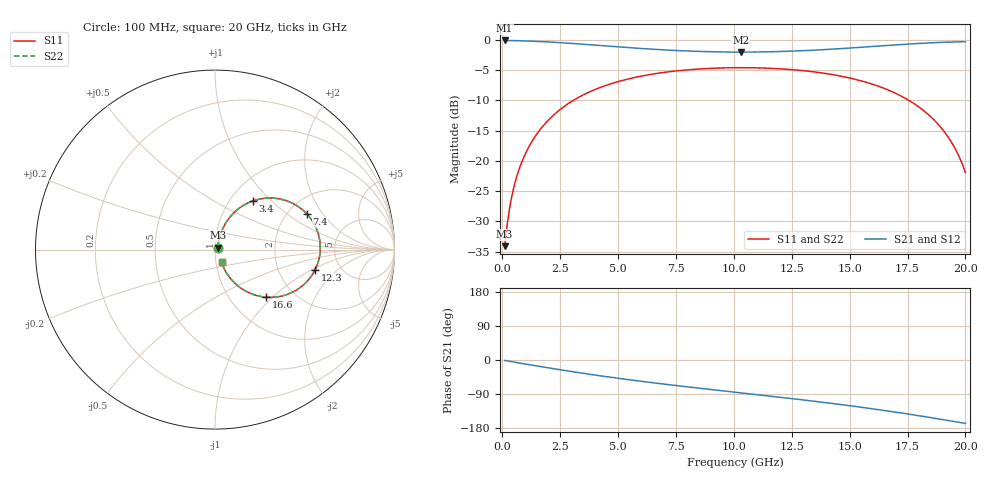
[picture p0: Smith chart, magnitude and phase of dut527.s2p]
! Touchstone file exported from HFSS 2026.1.0
!  File:  C:/ffzhzh/LocalFiles/Ansys_Project_Files/temp_train_TSV_RDL_527_1783111358_37876.aedt
!  Generated:  04:52:56 AM Jul  4, 2026
!  Design:  TSV_RDL
!  Project:  temp_train_TSV_RDL_527_1783111358_37876
! Variables:
!  h_bsmrdl = 4.08um
!  h_ox = 20um
!  h_rdl = 5um
!  h_sub = 86.86um
!  h_tmrdl = 2.54um
!  h_tsv = 86.86um
!  h_via = 3um
!  l_bsmrdl = 486.36um
!  l_sub = 2650.87um
!  l_tmrdl = 174.48um
!  m_sub = 200um
!  pitch = 55.71um
!  r_tsv = 10.06um
!  s_tmrdl = 10um
!  w_bsmrdl = 17.63um
!  w_sub = 500um
!  w_tmrdl = 13.66um
!  x_tsv_center1 = 181.31um
!  x_tsv_center2 = 685.3um
!  x_tsv_center3 = 873.44um
!  x_tsv_center4 = 1377.43um
!  x_tsv_center5 = 1565.57um
!  x_tsv_center6 = 2069.56um
# GHz S MA R 50.000000
! Terminal data exported
! Port[1] = TM_RDL1_1_T1
! Port[2] = TM_RDL5_1_T1
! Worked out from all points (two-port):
!   200 points, 100 MHz to 20 GHz, reference 50 ohm
!   highest |S21| = -0.14 dB at 100 MHz (marker M1); lowest = -2.1 dB at 10.3 GHz (marker M2)
!   |S21| within 3 dB of the highest: start of sweep to end of sweep
!   lowest |S11| = -34.1 dB at 100 MHz (marker M3), VSWR 1.04, Z = 51.6 + j1.2 ohm
!   |S11| at or under -10 dB: start of sweep to 3.081 GHz; 17.55 GHz to end of sweep
!   |S22| runs from -34.1 to -4.6 dB; largest |S21 - S12| = 2.7e-14
!   S11 on the Smith chart (normalised r, x): 100 MHz: 1.03, +0.02; 3.4 GHz: 1.26, +0.78; 7.4 GHz: 2.50, +1.43; 12.3 GHz: 3.26, -1.07; 16.6 GHz: 1.46, -0.91; 20 GHz: 1.06, -0.15
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0.1  0.01974 36.1  0.9842 -1.1  0.9842 -1.1  0.01974 36.1
! Gamma 0 0 0 0
! Port Impedance 50 0 50 0
0.3  0.03904 61.8  0.9829 -3.3  0.9829 -3.3  0.03904 61.8
0.5  0.06065 68.0  0.981 -5.4  0.981 -5.4  0.06065 68.0
0.8  0.09312 70.2  0.9775 -8.6  0.9775 -8.6  0.09312 70.2
1.1  0.1252 69.7  0.9734 -11.7  0.9734 -11.7  0.1252 69.7
2.1  0.2274 63.1  0.9539 -21.8  0.9539 -21.8  0.2274 63.1
3.4  0.3423 52.2  0.9188 -34.3  0.9188 -34.3  0.3423 52.2
3.5  0.3501 51.4  0.9158 -35.2  0.9158 -35.2  0.3501 51.4
5  0.4502 39.1  0.8715 -48.2  0.8715 -48.2  0.4502 39.1
6.8  0.5303 25.6  0.8265 -62.3  0.8265 -62.3  0.5303 25.6
7.4  0.5485 21.4  0.8149 -66.7  0.8149 -66.7  0.5485 21.4
10.1  0.5867 3.3  0.7891 -85.3  0.7891 -85.3  0.5867 3.3
10.3  0.5869 2.0  0.789 -86.7  0.789 -86.7  0.5869 2.0
12.3  0.5694 -11.3  0.8009 -100.4  0.8009 -100.4  0.5694 -11.3
13.4  0.5436 -18.8  0.8174 -108.3  0.8174 -108.3  0.5436 -18.8
15.1  0.4775 -31.2  0.8544 -121.4  0.8544 -121.4  0.4775 -31.2
16.6  0.3885 -43.1  0.8941 -134.1  0.8941 -134.1  0.3886 -43.0
16.7  0.3815 -43.9  0.8968 -135.0  0.8968 -135.0  0.3815 -43.8
17.9  0.2862 -53.7  0.9277 -146.1  0.9277 -146.1  0.2862 -53.6
18.8  0.2025 -60.5  0.9464 -155.0  0.9464 -155.0  0.2026 -60.5
19.5  0.1319 -64.2  0.9565 -162.1  0.9565 -162.1  0.132 -64.1
20  0.08003 -63.0  0.9608 -167.2  0.9608 -167.2  0.08016 -62.8
